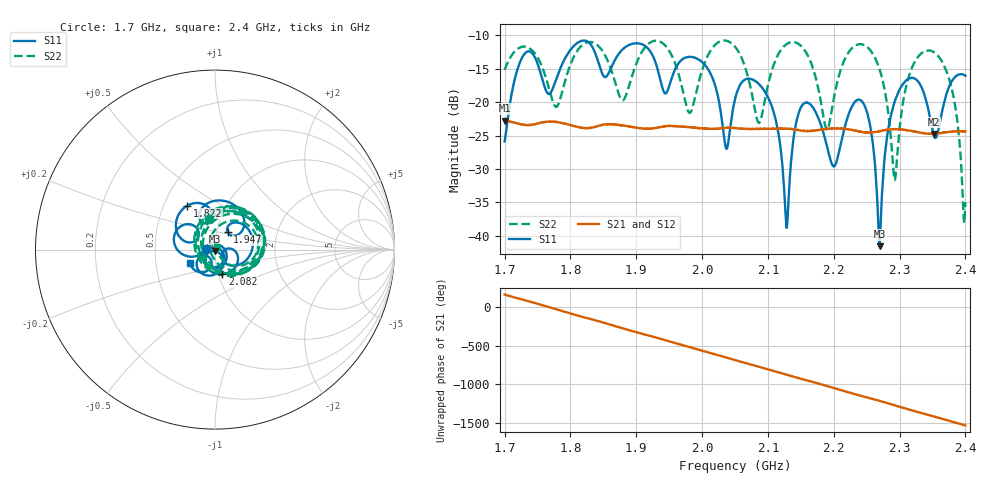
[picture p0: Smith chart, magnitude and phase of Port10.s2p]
# Hz S RI R 50
! CMT, CMT808U, 21440046, 21.4.3/4
! Date: 9/9/2026 12:54:31 AM
! Data: Format (Calibration Info)
! Freq	S11:Re/Im(F2)	S41:Re/Im(F2)	S14:Re/Im(F2)	S44:Re/Im(F2)
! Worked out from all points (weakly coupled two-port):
!   3001 points, 1.7 GHz to 2.4 GHz, reference 50 ohm
!   highest |S21| = -22.73 dB at 1.7 GHz (marker M1); lowest = -24.7 dB at 2.353 GHz (marker M2)
!   lowest |S11| = -41.5 dB at 2.27 GHz (marker M3), VSWR 1.02, Z = 49.9 - j0.835 ohm
!   |S11| at or under -10 dB: start of sweep to end of sweep
!   |S22| runs from -38.1 to -10.8 dB; largest |S21 - S12| = 0.001
!   S11 on the Smith chart (normalised r, x): 1.7 GHz: 0.90, +0.01; 1.822 GHz: 0.66, +0.35; 1.947 GHz: 1.13, +0.22; 2.082 GHz: 1.04, -0.29; 2.4 GHz: 0.75, -0.11
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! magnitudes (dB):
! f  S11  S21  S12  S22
! 1.7 GHz  -25.9  -22.7  -22.8  -15.2
! 1.7 GHz  -25.6  -22.7  -22.8  -15.0
! 1.73 GHz  -12.8  -23.4  -23.4  -11.7
! 1.778 GHz  -16.6  -22.9  -23.0  -20.7
! 1.817 GHz  -10.8  -23.8  -23.8  -11.6
! 1.822 GHz  -10.8  -23.9  -23.9  -11.2
! 1.879 GHz  -12.1  -23.5  -23.5  -19.7
! 1.934 GHz  -15.5  -23.8  -23.8  -10.8
! 1.947 GHz  -18.5  -23.6  -23.6  -11.8
! 1.981 GHz  -13.2  -23.7  -23.7  -21.6
! 2.037 GHz  -26.9  -23.8  -23.8  -10.8
! 2.05 GHz  -19.6  -23.9  -23.9  -11.7
! 2.082 GHz  -16.9  -24.0  -24.0  -22.0
! 2.128 GHz  -38.7  -24.0  -24.0  -11.3
! 2.167 GHz  -20.6  -24.3  -24.3  -14.4
! 2.19 GHz  -26.7  -24.0  -24.0  -24.1
! 2.245 GHz  -20.2  -24.5  -24.5  -11.4
! 2.27 GHz  -41.5  -24.3  -24.3  -15.1
! 2.284 GHz  -23.6  -24.1  -24.1  -22.1
! 2.293 GHz  -19.7  -24.0  -24.0  -31.6
! 2.353 GHz  -25.1  -24.7  -24.7  -12.5
! 2.4 GHz  -16.0  -24.4  -24.4  -35.0
